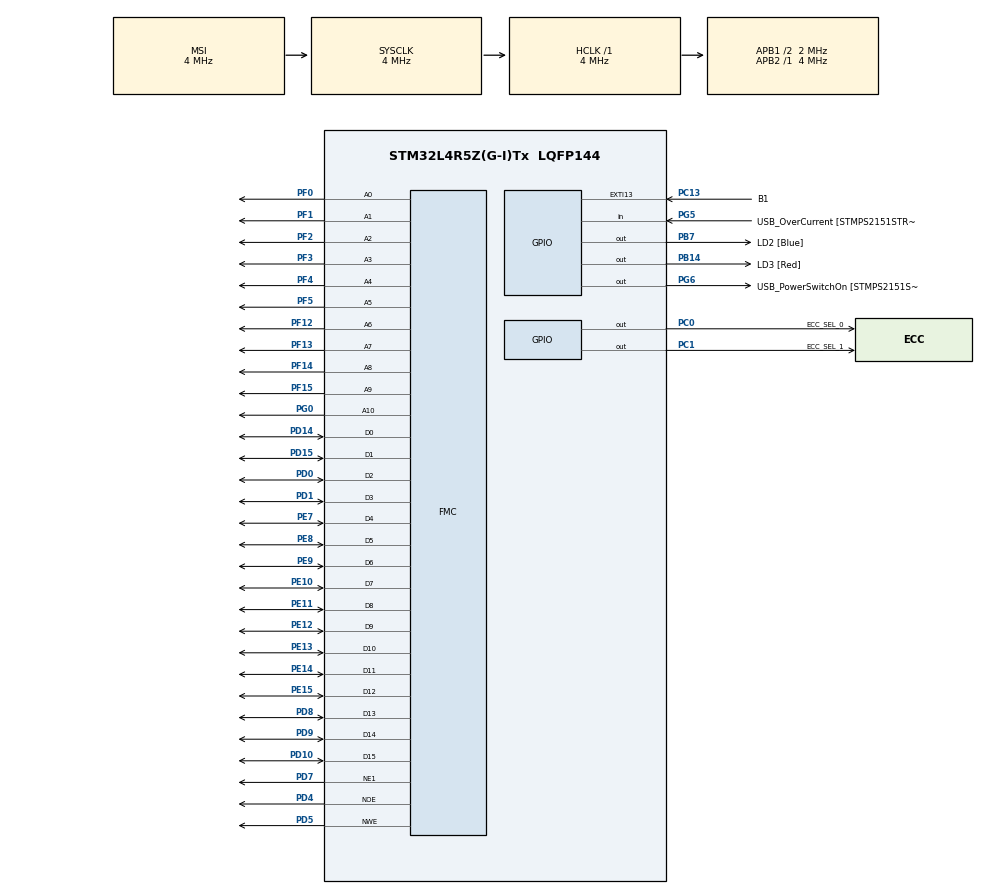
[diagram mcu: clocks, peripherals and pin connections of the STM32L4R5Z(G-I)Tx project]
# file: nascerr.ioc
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FMC.WriteFifo1=FMC_WRITE_FIFO_DISABLE
FMC.WriteFifo2=FMC_WRITE_FIFO_DISABLE
FMC.WriteFifo3=FMC_WRITE_FIFO_DISABLE
FMC.WriteFifo4=FMC_WRITE_FIFO_DISABLE
FMC.WriteOperation1=FMC_WRITE_OPERATION_ENABLE
Mcu.Family=STM32L4
Mcu.Name=STM32L4R5Z(G-I)Tx
Mcu.Package=LQFP144
NVIC.PriorityGroup=NVIC_PRIORITYGROUP_4
PA10.GPIO_Label=USB_ID
PA10.Signal=USB_OTG_FS_ID
PA11.GPIO_Label=USB_DM
PA11.Signal=USB_OTG_FS_DM
PA12.GPIO_Label=USB_DP
PA12.Signal=USB_OTG_FS_DP
PA13\ (JTMS/SWDIO).GPIO_Label=TMS
PA13\ (JTMS/SWDIO).Mode=Trace_Asynchronous_SW
PA13\ (JTMS/SWDIO).Signal=SYS_JTMS-SWDIO
PA14\ (JTCK/SWCLK).GPIO_Label=TCK
PA14\ (JTCK/SWCLK).Mode=Trace_Asynchronous_SW
PA14\ (JTCK/SWCLK).Signal=SYS_JTCK-SWCLK
PA8.GPIO_Label=USB_SOF [TP1]
PA8.Signal=USB_OTG_FS_SOF
PA9.GPIO_Label=USB_VBUS
PA9.Signal=USB_OTG_FS_VBUS
PB14.GPIO_Label=LD3 [Red]
PB14.Signal=GPIO_Output
PB3\ (JTDO/TRACESWO).GPIO_Label=SWO
PB3\ (JTDO/TRACESWO).Mode=Trace_Asynchronous_SW
PB3\ (JTDO/TRACESWO).Signal=SYS_JTDO-SWO
PB7.GPIO_Label=LD2 [Blue]
PB7.Signal=GPIO_Output
PC0.GPIO_Label=ECC_SEL_0
PC0.Signal=GPIO_Output
PC1.GPIO_Label=ECC_SEL_1
PC1.Signal=GPIO_Output
PC13.GPIO_Label=B1
PC13.Signal=GPXTI13
PC14-OSC32_IN\ (PC14).Mode=LSE-External-Oscillator
PC14-OSC32_IN\ (PC14).Signal=RCC_OSC32_IN
PC15-OSC32_OUT\ (PC15).Mode=LSE-External-Oscillator
PC15-OSC32_OUT\ (PC15).Signal=RCC_OSC32_OUT
PD0.Signal=FMC_D2_DA2
PD1.Signal=FMC_D3_DA3
PD10.Signal=FMC_D15_DA15
PD14.Signal=FMC_D0_DA0
PD15.Signal=FMC_D1_DA1
PD4.Signal=FMC_NOE
PD5.Signal=FMC_NWE
PD7.Mode=NorPsramChipSelect1_1
PD7.Signal=FMC_NE1
PD8.Signal=FMC_D13_DA13
PD9.Signal=FMC_D14_DA14
PE10.Signal=FMC_D7_DA7
PE11.Signal=FMC_D8_DA8
PE12.Signal=FMC_D9_DA9
PE13.Signal=FMC_D10_DA10
PE14.Signal=FMC_D11_DA11
PE15.Signal=FMC_D12_DA12
PE7.Signal=FMC_D4_DA4
PE8.Signal=FMC_D5_DA5
PE9.Signal=FMC_D6_DA6
PF0.Signal=FMC_A0
PF1.Signal=FMC_A1
PF12.Signal=FMC_A6
PF13.Signal=FMC_A7
PF14.Signal=FMC_A8
PF15.Signal=FMC_A9
PF2.Signal=FMC_A2
PF3.Signal=FMC_A3
PF4.Signal=FMC_A4
PF5.Signal=FMC_A5
PG0.Signal=FMC_A10
PG5.GPIO_Label=USB_OverCurrent [STMPS2151STR_FAULT]
PG5.Signal=GPIO_Input
PG6.GPIO_Label=USB_PowerSwitchOn [STMPS2151STR_En]
PG6.Signal=GPIO_Output
PG7.GPIO_Label=STLINK_TX
PG7.Signal=LPUART1_TX
PG8.GPIO_Label=STLINK_RX
PG8.Signal=LPUART1_RX
PH0-OSC_IN\ (PH0).Mode=HSE-External-Clock-Source
PH0-OSC_IN\ (PH0).Signal=RCC_OSC_IN
PH1-OSC_OUT\ (PH1).Signal=RCC_OSC_OUT
ProjectManager.HeapSize=0x200
ProjectManager.StackSize=0x400
ProjectManager.TargetToolchain=STM32CubeIDE
RCC.48MHZClocksFreq_Value=24000000
RCC.AHBFreq_Value=4000000
RCC.APB1CLKDivider=RCC_HCLK_DIV2
RCC.APB1Freq_Value=2000000
RCC.APB1TimFreq_Value=4000000
RCC.APB2Freq_Value=4000000
RCC.APB2TimFreq_Value=4000000
RCC.CortexFreq_Value=4000000
RCC.HCLKFreq_Value=4000000
RCC.HSE_VALUE=8000000
RCC.HSI48_VALUE=48000000
RCC.HSI_VALUE=16000000
RCC.MSI_VALUE=4000000
RCC.PLLMUL=RCC_PLL_MUL9
RCC.PRESCALERUSB=RCC_USBCLKSOURCE_PLL_DIV1_5
RCC.SYSCLKFreq_VALUE=4000000
RCC.SYSCLKSourceVirtual=RCC_SYSCLKSOURCE_PLLCLK
RCC.USBFreq_Value=16000000
RCC.VCOOutputFreq_Value=32000000
SH.FMC_A0.0=FMC_A0,11b-a1
SH.FMC_A1.0=FMC_A1,11b-a1
SH.FMC_A10.0=FMC_A10,11b-a1
SH.FMC_A2.0=FMC_A2,11b-a1
SH.FMC_A3.0=FMC_A3,11b-a1
SH.FMC_A4.0=FMC_A4,11b-a1
SH.FMC_A5.0=FMC_A5,11b-a1
SH.FMC_A6.0=FMC_A6,11b-a1
SH.FMC_A7.0=FMC_A7,11b-a1
SH.FMC_A8.0=FMC_A8,11b-a1
SH.FMC_A9.0=FMC_A9,11b-a1
SH.FMC_D0_DA0.0=FMC_D0,16b-d1
SH.FMC_D10_DA10.0=FMC_D10,16b-d1
SH.FMC_D11_DA11.0=FMC_D11,16b-d1
SH.FMC_D12_DA12.0=FMC_D12,16b-d1
SH.FMC_D13_DA13.0=FMC_D13,16b-d1
SH.FMC_D14_DA14.0=FMC_D14,16b-d1
SH.FMC_D15_DA15.0=FMC_D15,16b-d1
SH.FMC_D1_DA1.0=FMC_D1,16b-d1
SH.FMC_D2_DA2.0=FMC_D2,16b-d1
SH.FMC_D3_DA3.0=FMC_D3,16b-d1
SH.FMC_D4_DA4.0=FMC_D4,16b-d1
SH.FMC_D5_DA5.0=FMC_D5,16b-d1
SH.FMC_D6_DA6.0=FMC_D6,16b-d1
SH.FMC_D7_DA7.0=FMC_D7,16b-d1
SH.FMC_D8_DA8.0=FMC_D8,16b-d1
SH.FMC_D9_DA9.0=FMC_D9,16b-d1
SH.FMC_NOE.0=FMC_NOE,Sram1
SH.FMC_NWE.0=FMC_NWE,Sram1
board=NUCLEO-L4R5ZI

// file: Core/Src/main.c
/* USER CODE BEGIN Header */
/**
  ******************************************************************************
  * @file           : main.c
  * @brief          : Main program body
  ******************************************************************************
  * @attention
  *
  * Copyright (c) 2024 STMicroelectronics.
  * All rights reserved.
  *
  * This software is licensed under terms that can be found in the LICENSE file
  * in the root directory of this software component.
  * If no LICENSE file comes with this software, it is provided AS-IS.
  *
  ******************************************************************************
  */
/* USER CODE END Header */
#include "main.h"

/* USER CODE BEGIN Includes */
#include "NASCERR_Control.h"
#include "NASCERR_System.h"
#include "NASCERR_Experiment.h"
#include "NASCERR_Memory.h"
/* USER CODE END Includes */

SRAM_HandleTypeDef hsram1;

/* USER CODE BEGIN PV */
uint16_t read_from_sram[1];
uint16_t write_buffers[1];
ResDescTypeDef errors[1];
uint32_t teste1, teste2;
//uint16_t errorss[20];
//uint16_t teste = 0;
NASCERR_CTRL command ={
		.bytes_msg = 32,
		.cmd_type = 1,
		.id = 1,
		.data_lenght = 20,
		.repeat = 1,
		.write_type = WRITE_RANDOM,
		.data = WORD_BY_WORD,
		.mode = ECC_MOD1,
		.delay = 1,
		.crc16 = 0xAA

};
/* USER CODE END PV */

void SystemClock_Config(void);
static void MX_GPIO_Init(void);
static void MX_FMC_Init(void);

int main(void)
{

  /* MCU Configuration--------------------------------------------------------*/

  /* Reset of all peripherals, Initializes the Flash interface and the Systick. */
  HAL_Init();

  /* Configure the system clock */
  SystemClock_Config();

  /* Initialize all configured peripherals */
  MX_GPIO_Init();
  MX_FMC_Init();
  /* USER CODE BEGIN 2 */

  for (int i = 0; i<1; i++){
	  write_buffers[i] = 0xAAAA;
	  read_from_sram[i] = 0xFFFF;

  }
  teste1 = nascerr_experiment_error_counter(1, write_buffers, read_from_sram);
  teste2 = nascerr_experiment_buffer_result(1, write_buffers, read_from_sram, errors);
  //nascerr_experiment_test(command);

  /* USER CODE END 2 */

  /* Infinite loop */
  while (1)
  {

  }
}

void SystemClock_Config(void)
{
  RCC_OscInitTypeDef RCC_OscInitStruct = {0};
  RCC_ClkInitTypeDef RCC_ClkInitStruct = {0};

  /** Configure the main internal regulator output voltage
  */
  if (HAL_PWREx_ControlVoltageScaling(PWR_REGULATOR_VOLTAGE_SCALE1) != HAL_OK)
  {
    Error_Handler();
  }

  /** Initializes the RCC Oscillators according to the specified parameters
  * in the RCC_OscInitTypeDef structure.
  */
  RCC_OscInitStruct.OscillatorType = RCC_OSCILLATORTYPE_MSI;
  RCC_OscInitStruct.MSIState = RCC_MSI_ON;
  RCC_OscInitStruct.MSICalibrationValue = 0;
  RCC_OscInitStruct.MSIClockRange = RCC_MSIRANGE_6;
  RCC_OscInitStruct.PLL.PLLState = RCC_PLL_NONE;
  if (HAL_RCC_OscConfig(&RCC_OscInitStruct) != HAL_OK)
  {
    Error_Handler();
  }

  /** Initializes the CPU, AHB and APB buses clocks
  */
  RCC_ClkInitStruct.ClockType = RCC_CLOCKTYPE_HCLK|RCC_CLOCKTYPE_SYSCLK
                              |RCC_CLOCKTYPE_PCLK1|RCC_CLOCKTYPE_PCLK2;
  RCC_ClkInitStruct.SYSCLKSource = RCC_SYSCLKSOURCE_MSI;
  RCC_ClkInitStruct.AHBCLKDivider = RCC_SYSCLK_DIV1;
  RCC_ClkInitStruct.APB1CLKDivider = RCC_HCLK_DIV2;
  RCC_ClkInitStruct.APB2CLKDivider = RCC_HCLK_DIV1;

  if (HAL_RCC_ClockConfig(&RCC_ClkInitStruct, FLASH_LATENCY_0) != HAL_OK)
  {
    Error_Handler();
  }
}

/* FMC initialization function */
static void MX_FMC_Init(void)
{

  FMC_NORSRAM_TimingTypeDef Timing = {0};

  /** Perform the SRAM1 memory initialization sequence
  */
  hsram1.Instance = FMC_NORSRAM_DEVICE;
  hsram1.Extended = FMC_NORSRAM_EXTENDED_DEVICE;
  /* hsram1.Init */
  hsram1.Init.NSBank = FMC_NORSRAM_BANK1;
  hsram1.Init.DataAddressMux = FMC_DATA_ADDRESS_MUX_DISABLE;
  hsram1.Init.MemoryType = FMC_MEMORY_TYPE_SRAM;
  hsram1.Init.MemoryDataWidth = FMC_NORSRAM_MEM_BUS_WIDTH_16;
  hsram1.Init.BurstAccessMode = FMC_BURST_ACCESS_MODE_DISABLE;
  hsram1.Init.WaitSignalPolarity = FMC_WAIT_SIGNAL_POLARITY_LOW;
  hsram1.Init.WaitSignalActive = FMC_WAIT_TIMING_BEFORE_WS;
  hsram1.Init.WriteOperation = FMC_WRITE_OPERATION_ENABLE;
  hsram1.Init.WaitSignal = FMC_WAIT_SIGNAL_DISABLE;
  hsram1.Init.ExtendedMode = FMC_EXTENDED_MODE_DISABLE;
  hsram1.Init.AsynchronousWait = FMC_ASYNCHRONOUS_WAIT_DISABLE;
  hsram1.Init.WriteBurst = FMC_WRITE_BURST_DISABLE;
  hsram1.Init.ContinuousClock = FMC_CONTINUOUS_CLOCK_SYNC_ONLY;
  hsram1.Init.WriteFifo = FMC_WRITE_FIFO_DISABLE;
  hsram1.Init.NBLSetupTime = 0;
  hsram1.Init.PageSize = FMC_PAGE_SIZE_NONE;
  /* Timing */
  Timing.AddressSetupTime = 15;
  Timing.AddressHoldTime = 15;
  Timing.DataSetupTime = 255;
  Timing.DataHoldTime = 0;
  Timing.BusTurnAroundDuration = 15;
  Timing.CLKDivision = 16;
  Timing.DataLatency = 17;
  Timing.AccessMode = FMC_ACCESS_MODE_A;
  /* ExtTiming */

  if (HAL_SRAM_Init(&hsram1, &Timing, NULL) != HAL_OK)
  {
    Error_Handler( );
  }

}

static void MX_GPIO_Init(void)
{
  GPIO_InitTypeDef GPIO_InitStruct = {0};

  /* GPIO Ports Clock Enable */
  __HAL_RCC_GPIOC_CLK_ENABLE();
  __HAL_RCC_GPIOF_CLK_ENABLE();
  __HAL_RCC_GPIOH_CLK_ENABLE();
  __HAL_RCC_GPIOG_CLK_ENABLE();
  __HAL_RCC_GPIOE_CLK_ENABLE();
  __HAL_RCC_GPIOB_CLK_ENABLE();
  __HAL_RCC_GPIOD_CLK_ENABLE();
  HAL_PWREx_EnableVddIO2();
  __HAL_RCC_GPIOA_CLK_ENABLE();

  /*Configure GPIO pin Output Level */
  HAL_GPIO_WritePin(GPIOC, ECC_SEL_0_Pin|ECC_SEL_1_Pin, GPIO_PIN_RESET);

  /*Configure GPIO pin Output Level */
  HAL_GPIO_WritePin(GPIOB, LD3_Pin|LD2_Pin, GPIO_PIN_RESET);

  /*Configure GPIO pin Output Level */
  HAL_GPIO_WritePin(USB_PowerSwitchOn_GPIO_Port, USB_PowerSwitchOn_Pin, GPIO_PIN_RESET);

  /*Configure GPIO pin : B1_Pin */
  GPIO_InitStruct.Pin = B1_Pin;
  GPIO_InitStruct.Mode = GPIO_MODE_IT_RISING;
  GPIO_InitStruct.Pull = GPIO_NOPULL;
  HAL_GPIO_Init(B1_GPIO_Port, &GPIO_InitStruct);

  /*Configure GPIO pins : ECC_SEL_0_Pin ECC_SEL_1_Pin */
  GPIO_InitStruct.Pin = ECC_SEL_0_Pin|ECC_SEL_1_Pin;
  GPIO_InitStruct.Mode = GPIO_MODE_OUTPUT_PP;
  GPIO_InitStruct.Pull = GPIO_NOPULL;
  GPIO_InitStruct.Speed = GPIO_SPEED_FREQ_LOW;
  HAL_GPIO_Init(GPIOC, &GPIO_InitStruct);

  /*Configure GPIO pins : LD3_Pin LD2_Pin */
  GPIO_InitStruct.Pin = LD3_Pin|LD2_Pin;
  GPIO_InitStruct.Mode = GPIO_MODE_OUTPUT_PP;
  GPIO_InitStruct.Pull = GPIO_NOPULL;
  GPIO_InitStruct.Speed = GPIO_SPEED_FREQ_LOW;
  HAL_GPIO_Init(GPIOB, &GPIO_InitStruct);

  /*Configure GPIO pin : USB_OverCurrent_Pin */
  GPIO_InitStruct.Pin = USB_OverCurrent_Pin;
  GPIO_InitStruct.Mode = GPIO_MODE_INPUT;
  GPIO_InitStruct.Pull = GPIO_NOPULL;
  HAL_GPIO_Init(USB_OverCurrent_GPIO_Port, &GPIO_InitStruct);

  /*Configure GPIO pin : USB_PowerSwitchOn_Pin */
  GPIO_InitStruct.Pin = USB_PowerSwitchOn_Pin;
  GPIO_InitStruct.Mode = GPIO_MODE_OUTPUT_PP;
  GPIO_InitStruct.Pull = GPIO_NOPULL;
  GPIO_InitStruct.Speed = GPIO_SPEED_FREQ_LOW;
  HAL_GPIO_Init(USB_PowerSwitchOn_GPIO_Port, &GPIO_InitStruct);

  /*Configure GPIO pins : STLINK_TX_Pin STLINK_RX_Pin */
  GPIO_InitStruct.Pin = STLINK_TX_Pin|STLINK_RX_Pin;
  GPIO_InitStruct.Mode = GPIO_MODE_AF_PP;
  GPIO_InitStruct.Pull = GPIO_NOPULL;
  GPIO_InitStruct.Speed = GPIO_SPEED_FREQ_VERY_HIGH;
  GPIO_InitStruct.Alternate = GPIO_AF8_LPUART1;
  HAL_GPIO_Init(GPIOG, &GPIO_InitStruct);

  /*Configure GPIO pins : USB_SOF_Pin USB_ID_Pin USB_DM_Pin USB_DP_Pin */
  GPIO_InitStruct.Pin = USB_SOF_Pin|USB_ID_Pin|USB_DM_Pin|USB_DP_Pin;
  GPIO_InitStruct.Mode = GPIO_MODE_AF_PP;
  GPIO_InitStruct.Pull = GPIO_NOPULL;
  GPIO_InitStruct.Speed = GPIO_SPEED_FREQ_VERY_HIGH;
  GPIO_InitStruct.Alternate = GPIO_AF10_OTG_FS;
  HAL_GPIO_Init(GPIOA, &GPIO_InitStruct);

  /*Configure GPIO pin : USB_VBUS_Pin */
  GPIO_InitStruct.Pin = USB_VBUS_Pin;
  GPIO_InitStruct.Mode = GPIO_MODE_INPUT;
  GPIO_InitStruct.Pull = GPIO_NOPULL;
  HAL_GPIO_Init(USB_VBUS_GPIO_Port, &GPIO_InitStruct);

}

void Error_Handler(void)
{
  __disable_irq();
  while (1)
  {
  }
}
